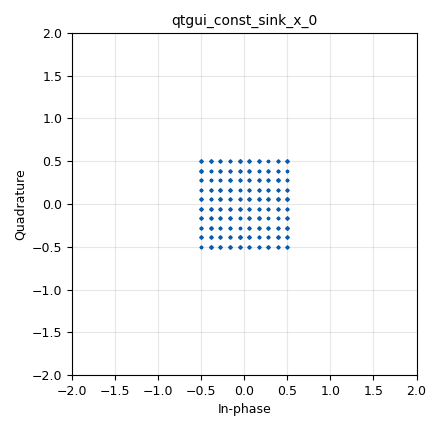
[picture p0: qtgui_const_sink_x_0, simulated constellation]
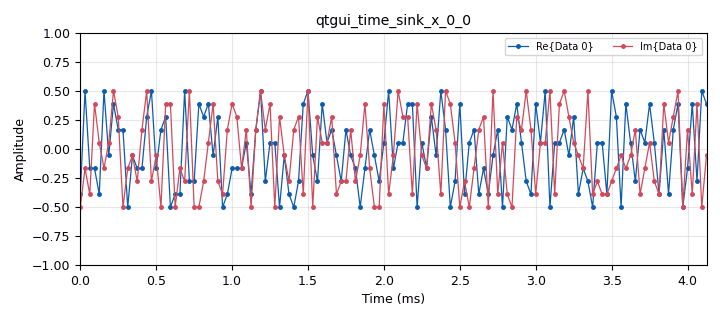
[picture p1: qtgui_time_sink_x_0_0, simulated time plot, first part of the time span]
options:
  parameters:
    author: mettus
    category: Custom
    generate_options: qt_gui
    id: demo_qam
    output_language: python
  states: {}

blocks:
- name: beta
  id: variable_qtgui_range
  parameters:
    gui_hint: 3,0,1,1
    label: k3 (IP3)
    start: '-1'
    step: '0.001'
    stop: '0'
    value: '0'
  states: {}
- name: const_size
  id: variable
  parameters:
    value: 2**10
  states: {}
- name: freq_offset
  id: variable_qtgui_range
  parameters:
    gui_hint: 0,1,1,1
    label: Frequency Offset
    start: '-0.5'
    step: '0.001'
    stop: '0.5'
    value: '0'
  states: {}
- name: i_ofs
  id: variable_qtgui_range
  parameters:
    gui_hint: 2,0,1,1
    label: I offset
    start: '-1'
    step: '0.001'
    stop: '1'
    value: '0'
  states: {}
- name: k
  id: variable
  parameters:
    value: math.log(const_size)/math.log(2)
  states: {}
- name: magbal
  id: variable_qtgui_range
  parameters:
    gui_hint: 1,0,1,1
    label: IQ Magnitude Imbalance
    start: '0'
    step: '0.1'
    stop: '10'
    value: '0'
  states: {}
- name: phase_noise_mag
  id: variable_qtgui_range
  parameters:
    gui_hint: 0, 0, 1,1
    label: Phase Noise Mag (dB)
    start: '-100'
    step: '1'
    stop: '0'
    value: '-100'
  states: {}
- name: phasebal
  id: variable_qtgui_range
  parameters:
    gui_hint: 1,1,1,1
    label: IQ Phase Imbalance
    start: '0'
    step: '0.1'
    stop: '45'
    value: '0'
  states: {}
- name: q_ofs
  id: variable_qtgui_range
  parameters:
    gui_hint: 2,1,1,1
    label: Q offset
    start: '-1'
    step: '0.001'
    stop: '1'
    value: '0'
  states: {}
- name: samp_rate
  id: variable
  parameters:
    value: '32000'
  states: {}
- name: analog_random_source_x_0
  id: analog_random_source_x
  parameters:
    max: int(k)
    min: '0'
    num_samps: '10000'
    repeat: 'True'
    type: int
  states: {}
- name: analog_random_source_x_0_0
  id: analog_random_source_x
  parameters:
    max: int(k)
    min: '0'
    num_samps: '10000'
    repeat: 'True'
    type: int
  states: {}
- name: blocks_add_const_vxx_0
  id: blocks_add_const_vxx
  parameters:
    const: (-1-1j)/2
    type: complex
  states: {}
- name: blocks_complex_to_interleaved_char_0
  id: blocks_complex_to_interleaved_char
  parameters:
    scale_factor: '1.0'
    vector_output: 'False'
  states: {}
- name: blocks_complex_to_interleaved_char_0_0
  id: blocks_complex_to_interleaved_char
  parameters:
    scale_factor: '1.0'
    vector_output: 'False'
  states: {}
- name: blocks_float_to_complex_0
  id: blocks_float_to_complex
  parameters: {}
  states: {}
- name: blocks_int_to_float_0
  id: blocks_int_to_float
  parameters:
    scale: k-1
  states: {}
- name: blocks_int_to_float_0_0
  id: blocks_int_to_float
  parameters:
    scale: k-1
  states: {}
- name: blocks_throttle_0
  id: blocks_throttle
  parameters:
    samples_per_second: samp_rate
    type: complex
  states: {}
- name: channels_impairments_0
  id: channels_impairments
  parameters:
    beta: beta
    freq_offset: freq_offset
    gamma: '0'
    i_ofs: i_ofs
    magbal: magbal
    phase_noise_mag: phase_noise_mag
    phasebal: phasebal
    q_ofs: q_ofs
  states: {}
- name: fec_ber_bf_0
  id: fec_ber_bf
  parameters:
    test_mode: 'False'
  states: {}
- name: import_0
  id: import
  parameters:
    imports: import math
  states: {}
- name: qtgui_const_sink_x_0
  id: qtgui_const_sink_x
  parameters:
    gui_hint: 4,0,1,1
    name: ''
    size: '1024'
    type: complex
  states: {}
- name: qtgui_number_sink_0
  id: qtgui_number_sink
  parameters:
    graph_type: qtgui.NUM_GRAPH_HORIZ
    type: float
  states: {}
- name: qtgui_time_sink_x_0_0
  id: qtgui_time_sink_x
  parameters:
    color2: green
    gui_hint: 4,1,1,1
    marker1: '1'
    marker2: '1'
    name: ''
    size: '1024'
    srate: samp_rate
    type: complex
  states: {}

connections:
- [analog_random_source_x_0, '0', blocks_int_to_float_0, '0']
- [analog_random_source_x_0_0, '0', blocks_int_to_float_0_0, '0']
- [blocks_add_const_vxx_0, '0', blocks_throttle_0, '0']
- [blocks_complex_to_interleaved_char_0, '0', fec_ber_bf_0, '1']
- [blocks_complex_to_interleaved_char_0_0, '0', fec_ber_bf_0, '0']
- [blocks_float_to_complex_0, '0', blocks_add_const_vxx_0, '0']
- [blocks_int_to_float_0, '0', blocks_float_to_complex_0, '0']
- [blocks_int_to_float_0_0, '0', blocks_float_to_complex_0, '1']
- [blocks_throttle_0, '0', blocks_complex_to_interleaved_char_0, '0']
- [blocks_throttle_0, '0', channels_impairments_0, '0']
- [channels_impairments_0, '0', blocks_complex_to_interleaved_char_0_0, '0']
- [channels_impairments_0, '0', qtgui_const_sink_x_0, '0']
- [channels_impairments_0, '0', qtgui_time_sink_x_0_0, '0']
- [fec_ber_bf_0, '0', qtgui_number_sink_0, '0']

metadata:
  file_format: 1
  grc_version: 3.10.9.2
